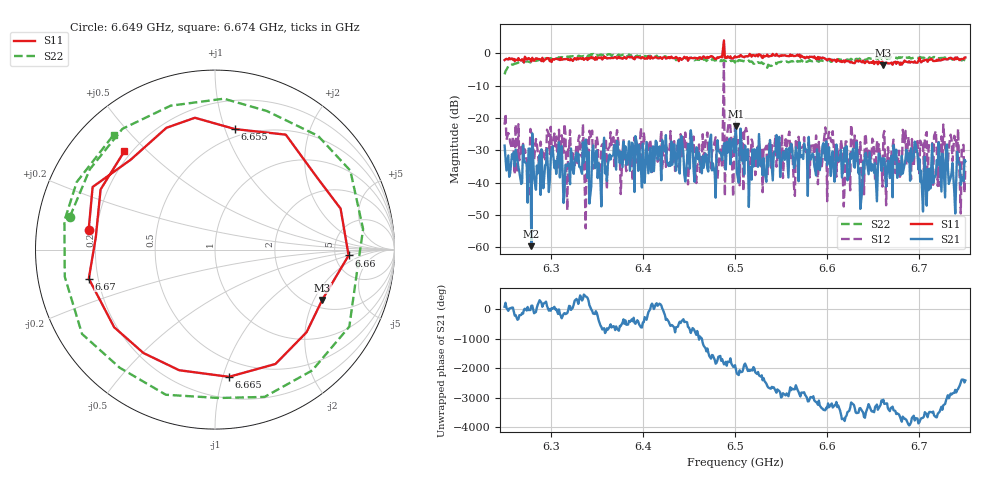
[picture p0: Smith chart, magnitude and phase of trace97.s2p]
# Hz S RI R 50
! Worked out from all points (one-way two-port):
!   401 points, 6.25 GHz to 6.75 GHz, reference 50 ohm
!   highest |S21| = -22.53 dB at 6.501 GHz (marker M1); lowest = -59.6 dB at 6.279 GHz (marker M2)
!   lowest |S11| = -3.6 dB at 6.661 GHz (marker M3), VSWR 4.88, Z = 117 - j116 ohm
!   |S11| at or under -10 dB: nowhere
!   |S22| runs from -6.5 to -0.2 dB; largest |S21 - S12| = 0.68
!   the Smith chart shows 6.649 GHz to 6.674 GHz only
!   S11 on the Smith chart (normalised r, x): 6.649 GHz: 0.17, +0.07; 6.655 GHz: 0.43, +1.08; 6.66 GHz: 6.70, -0.98; 6.665 GHz: 0.36, -1.05; 6.67 GHz: 0.16, -0.11; 6.674 GHz: 0.17, +0.43
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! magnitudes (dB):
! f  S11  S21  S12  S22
! 6.25 GHz  -2.1  -28.5  -22.1  -6.5
! 6.274 GHz  -1.9  -34.1  -32.7  -2.5
! 6.279 GHz  -2.5  -59.6  -24.7  -2.5
! 6.334 GHz  -1.7  -37.2  -32.1  -0.9
! 6.339 GHz  -1.5  -29.3  -26.7  -0.7
! 6.342 GHz  -1.6  -46.4  -23.9  -0.8
! 6.418 GHz  -1.5  -28.8  -32.6  -1.2
! 6.478 GHz  -1.7  -37.1  -27.3  -2.2
! 6.494 GHz  -1.4  -26.4  -19.4  -2.6
! 6.5 GHz  -0.9  -27.5  -22.5  -2.8
! 6.501 GHz  -1.2  -22.5  -25.1  -1.9
! 6.584 GHz  -1.1  -31.0  -27.6  -2.4
! 6.649 GHz  -2.9  -34.3  -26.4  -1.6
! 6.655 GHz  -3.3  -36.0  -30.8  -1.7
! 6.66 GHz  -2.6  -32.5  -41.2  -1.9
! 6.661 GHz  -3.6  -34.6  -25.3  -1.3
! 6.665 GHz  -2.9  -35.7  -34.6  -1.6
! 6.668 GHz  -3.1  -38.6  -34.6  -1.5
! 6.67 GHz  -2.8  -31.7  -29.1  -1.4
! 6.674 GHz  -2.6  -32.9  -37.0  -1.4
! 6.74 GHz  -1.8  -39.8  -26.8  -1.7
! 6.75 GHz  -1.3  -33.4  -35.0  -2.3
